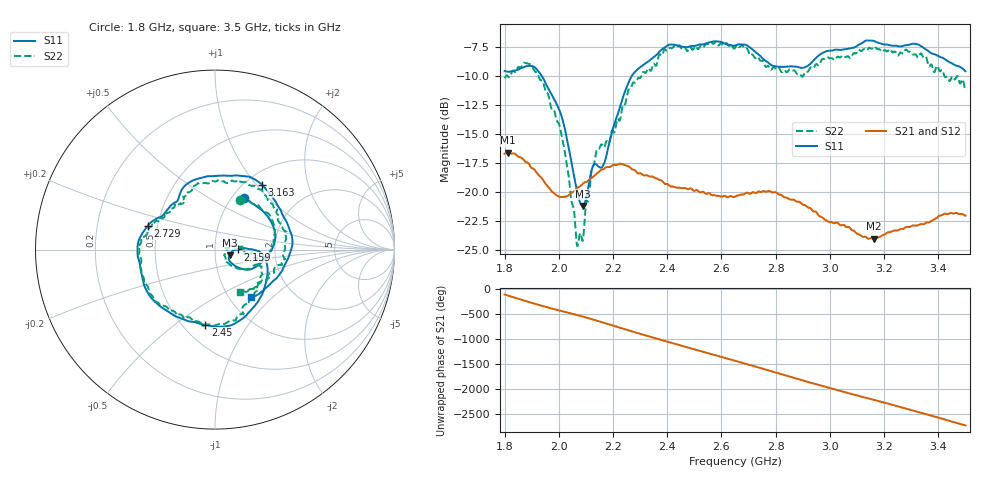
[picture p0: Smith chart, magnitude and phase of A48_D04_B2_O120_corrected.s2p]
! Created with skrf 1.9.0 (http://scikit-rf.org).
# Hz S RI R 50.0
!freq ReS11 ImS11 ReS21 ImS21 ReS12 ImS12 ReS22 ImS22
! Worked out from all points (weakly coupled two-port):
!   1601 points, 1.8 GHz to 3.5 GHz, reference 50 ohm
!   highest |S21| = -16.64 dB at 1.812 GHz (marker M1); lowest = -24.1 dB at 3.162 GHz (marker M2)
!   lowest |S11| = -21.2 dB at 2.089 GHz (marker M3), VSWR 1.19, Z = 58.7 - j3.68 ohm
!   |S11| at or under -10 dB: 1.937 GHz to 2.269 GHz (332.4 MHz wide, 15.8 % of centre)
!   |S22| runs from -24.7 to -7.0 dB; largest |S21 - S12| = 0.0024
!   S11 on the Smith chart (normalised r, x): 1.8 GHz: 1.13, +0.74; 2.159 GHz: 1.29, +0.00; 2.45 GHz: 0.64, -0.65; 2.729 GHz: 0.44, +0.14; 3.163 GHz: 1.18, +1.07; 3.5 GHz: 1.25, -0.74
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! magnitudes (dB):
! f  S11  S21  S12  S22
! 1.8 GHz  -9.6  -16.7  -16.7  -10.2
! 1.812 GHz  -9.6  -16.6  -16.6  -10.0
! 1.881 GHz  -9.2  -17.5  -17.5  -8.9
! 1.941 GHz  -10.2  -19.0  -18.9  -10.5
! 2.01 GHz  -13.5  -20.5  -20.4  -15.2
! 2.066 GHz  -19.8  -19.7  -19.7  -24.4
! 2.084 GHz  -21.2  -19.4  -19.4  -23.9
! 2.089 GHz  -21.2  -19.3  -19.3  -24.1
! 2.127 GHz  -17.7  -18.7  -18.7  -17.8
! 2.159 GHz  -17.9  -18.1  -18.0  -15.9
! 2.263 GHz  -10.3  -17.9  -17.9  -11.1
! 2.367 GHz  -8.0  -18.9  -18.9  -8.4
! 2.45 GHz  -7.5  -19.7  -19.7  -7.6
! 2.65 GHz  -7.4  -20.4  -20.4  -7.6
! 2.729 GHz  -8.0  -20.1  -20.1  -8.4
! 2.8 GHz  -9.2  -20.0  -20.0  -9.4
! 2.934 GHz  -8.8  -21.6  -21.5  -9.3
! 3.162 GHz  -7.0  -24.1  -24.0  -7.5
! 3.163 GHz  -7.0  -24.0  -24.0  -7.5
! 3.217 GHz  -7.3  -23.5  -23.5  -7.7
! 3.341 GHz  -7.5  -22.8  -22.8  -8.2
! 3.5 GHz  -9.6  -22.1  -22.0  -11.2
